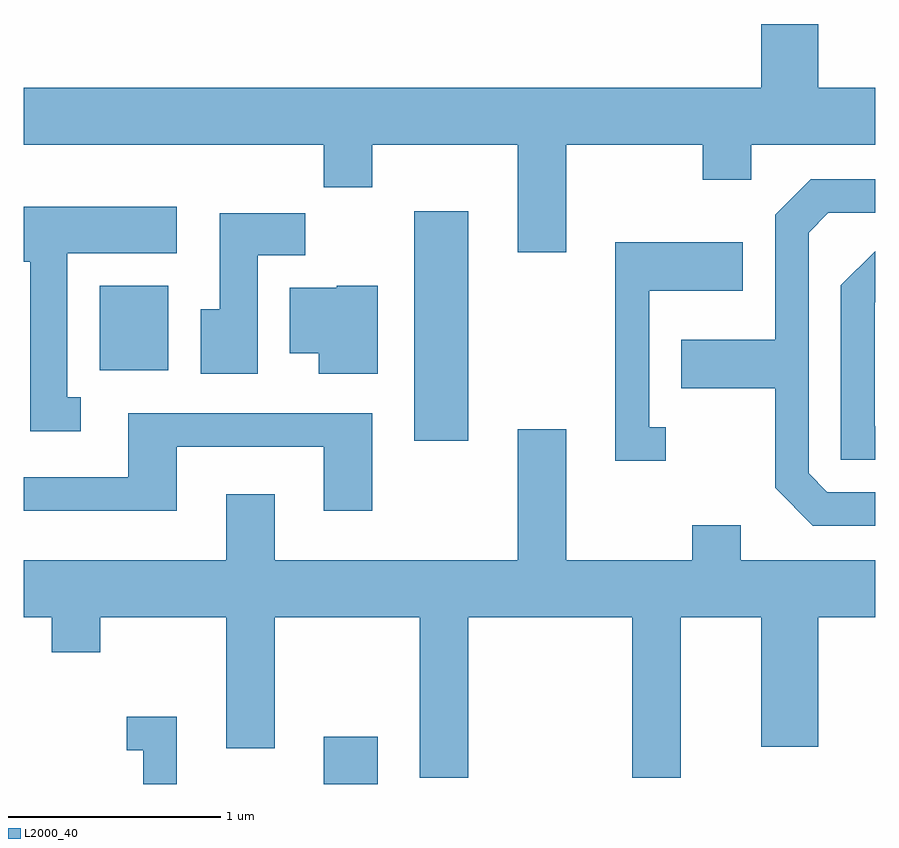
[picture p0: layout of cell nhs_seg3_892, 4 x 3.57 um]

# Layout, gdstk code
import gdstk
lib = gdstk.Library(unit=1e-6, precision=1e-09)
def R(c, l, rs):  # rectangles x0, y0, x1, y1
    for r in rs: c.add(gdstk.rectangle(r[:2], r[2:], *l))
def P(c, l, *ps):  # polygons
    for p in ps: c.add(gdstk.Polygon(p, *l))
L2000_40 = (2000, 40)

nhs_seg3_892 = lib.new_cell('nhs_seg3_892')
R(nhs_seg3_892, L2000_40, [(213.021,1131.892,213.274,1132.114), (213.446,1133.506,213.699,1134.584), (211.966,1133.836,212.289,1134.234)])
P(nhs_seg3_892, L2000_40, [(214.159,1134.896),(214.801,1134.896),(214.801,1134.731),(215.029,1134.731),(215.029,1134.896),(215.611,1134.896),(215.611,1135.164),(215.344,1135.164),(215.344,1135.464),(215.076,1135.464),(215.076,1135.164),(211.611,1135.164),(211.611,1134.896),(213.021,1134.896),(213.021,1134.696),(213.249,1134.696),(213.249,1134.896),(213.931,1134.896),(213.931,1134.391),(214.159,1134.391)],
  [(215.611,1133.264),(215.387,1133.264),(215.299,1133.352),(215.299,1134.484),(215.392,1134.576),(215.611,1134.576),(215.611,1134.734),(215.309,1134.734),(215.141,1134.567),(215.141,1133.979),(214.701,1133.979),(214.701,1133.751),(215.141,1133.751),(215.141,1133.284),(215.319,1133.106),(215.611,1133.106)],
  [(211.878,1133.709),(211.814,1133.709),(211.814,1134.386),(212.329,1134.386),(212.329,1134.604),(211.611,1134.604),(211.611,1134.346),(211.641,1134.346),(211.641,1133.551),(211.878,1133.551)],
  [(212.709,1134.376),(212.934,1134.376),(212.934,1134.574),(212.531,1134.574),(212.531,1134.124),(212.441,1134.124),(212.441,1133.821),(212.709,1133.821)],
  [(214.628,1133.569),(214.549,1133.569),(214.549,1134.211),(214.989,1134.211),(214.989,1134.439),(214.391,1134.439),(214.391,1133.411),(214.628,1133.411)],
  [(215.611,1133.574),(215.609,1133.574),(215.609,1134.154),(215.611,1134.156),(215.611,1134.396),(215.451,1134.237),(215.451,1133.416),(215.611,1133.416)],
  [(213.274,1134.234),(213.08,1134.234),(213.08,1134.224),(212.861,1134.224),(212.861,1133.916),(212.996,1133.916),(212.996,1133.821),(213.274,1133.821)],
  [(212.329,1133.476),(213.021,1133.476),(213.021,1133.176),(213.249,1133.176),(213.249,1133.634),(212.101,1133.634),(212.101,1133.334),(211.611,1133.334),(211.611,1133.176),(212.329,1133.176)],
  [(213.699,1132.676),(214.471,1132.676),(214.471,1131.921),(214.699,1131.921),(214.699,1132.676),(215.076,1132.676),(215.076,1132.066),(215.344,1132.066),(215.344,1132.676),(215.611,1132.676),(215.611,1132.944),(214.979,1132.944),(214.979,1133.109),(214.751,1133.109),(214.751,1132.944),(214.159,1132.944),(214.159,1133.559),(213.931,1133.559),(213.931,1132.944),(212.789,1132.944),(212.789,1133.254),(212.561,1133.254),(212.561,1132.944),(211.611,1132.944),(211.611,1132.676),(211.741,1132.676),(211.741,1132.511),(211.969,1132.511),(211.969,1132.676),(212.561,1132.676),(212.561,1132.061),(212.789,1132.061),(212.789,1132.676),(213.471,1132.676),(213.471,1131.921),(213.699,1131.921)],
  [(212.329,1132.209),(212.093,1132.209),(212.093,1132.051),(212.171,1132.051),(212.171,1131.892),(212.329,1131.892)])

lib.write_gds('nhs_seg3_892.gds')
